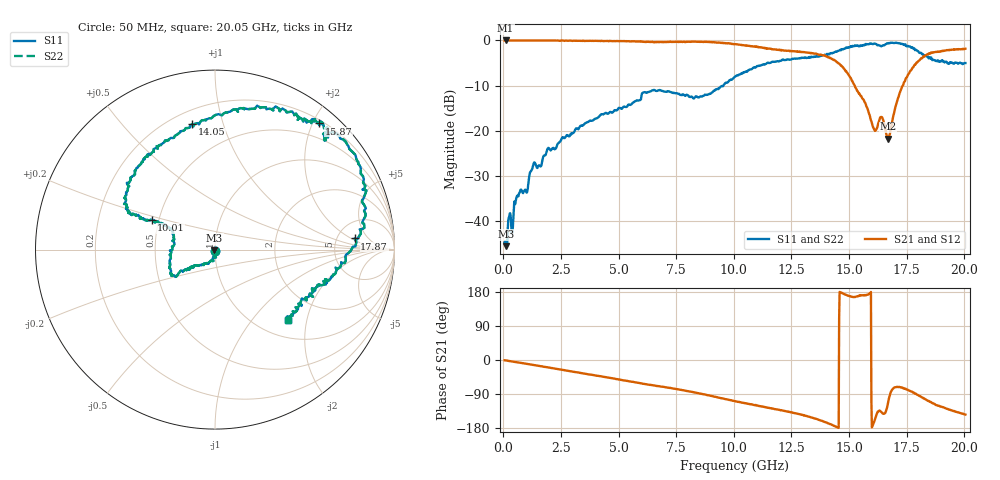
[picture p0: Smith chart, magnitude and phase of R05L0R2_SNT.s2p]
! P/N: 250R05L0R2AV4
! Measured by Marlon
! Oct. 29, 2003
#	mhz	s	ma	r	50
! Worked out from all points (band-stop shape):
!   1001 points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, 50 MHz to 20.05 GHz, reference 50 ohm
!   highest |S21| = 0.00 dB at 90 MHz (marker M1); lowest = -21.7 dB at 16.69 GHz (marker M2)
!   |S21| within 3 dB of the highest: start of sweep to 13.6 GHz; 18.46 GHz to end of sweep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
!   lowest |S11| = -45.5 dB at 130 MHz (marker M3), VSWR 1.01, Z = 49.6 - j0.396 ohm
!   |S11| at or under -10 dB: start of sweep to 9.547 GHz
!   |S22| runs from -45.5 to -0.5 dB; largest |S21 - S12| = 0
!   S11 on the Smith chart (normalised r, x): 50 MHz: 1.00, -0.01; 10.01 GHz: 0.46, +0.18; 14.05 GHz: 0.28, +0.79; 15.87 GHz: 0.26, +2.09; 17.87 GHz: 7.36, +2.33; 20.05 GHz: 1.35, -1.54
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50  0.00589 -105.0  0.9984 -0.8  0.9984 -0.8  0.00589 -105.0
90  0.00606 -130.4  1 -1.0  1 -1.0  0.00606 -130.4
130  0.00533 -131.5  1 -1.5  1 -1.5  0.00533 -131.5
570  0.01857 -102.4  1 -5.8  1 -5.8  0.01857 -102.4
970  0.02189 -83.2  0.9998 -9.6  0.9998 -9.6  0.02189 -83.2
1290  0.04203 -93.4  1 -13.1  1 -13.1  0.04203 -93.4
3390  0.1143 -130.3  0.9908 -34.4  0.9908 -34.4  0.1143 -130.3
6730  0.2811 -151.9  0.9602 -69.1  0.9602 -69.1  0.2811 -151.9
8530  0.2386 163.9  0.9615 -88.5  0.9615 -88.5  0.2386 163.9
10010  0.3906 154.9  0.91 -108.1  0.91 -108.1  0.3906 154.9
10050  0.3973 155.6  0.9092 -108.4  0.9092 -108.4  0.3973 155.6
11730  0.5792 149.9  0.7954 -128.7  0.7954 -128.7  0.5792 149.9
13390  0.6573 118.4  0.7238 -152.0  0.7238 -152.0  0.6573 118.4
14050  0.711 100.4  0.665 -165.8  0.665 -165.8  0.711 100.4
14670  0.7893 81.1  0.5255 178.0  0.5255 178.0  0.7893 81.1
15870  0.9101 50.6  0.1543 174.7  0.1543 174.7  0.9101 50.6
16690  0.927 44.3  0.08198 -113.8  0.08198 -113.8  0.927 44.3
16730  0.9362 43.8  0.08597 -101.6  0.08597 -101.6  0.9362 43.8
17230  0.9232 28.3  0.274 -71.9  0.274 -71.9  0.9232 28.3
17870  0.7806 4.6  0.5378 -88.9  0.5378 -88.9  0.7806 4.6
18570  0.6472 -17.5  0.7387 -112.1  0.7387 -112.1  0.6472 -17.5
20050  0.5627 -43.8  0.8104 -144.1  0.8104 -144.1  0.5627 -43.8
